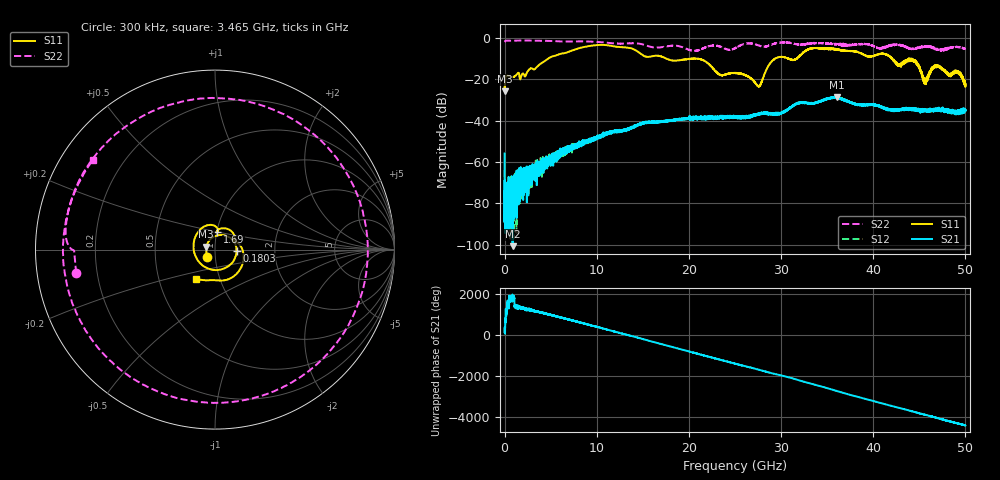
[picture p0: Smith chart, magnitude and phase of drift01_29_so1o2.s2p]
!Created with skrf (http://scikit-rf.org).
# Hz S RI R 50.0
!freq ReS11 ImS11 ReS21 ImS21 ReS12 ImS12 ReS22 ImS22
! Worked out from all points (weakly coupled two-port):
!   10001 points, 300 kHz to 50 GHz, reference 50 ohm
!   highest |S21| = -28.72 dB at 36.06 GHz (marker M1); lowest = -100.6 dB at 870.3 MHz (marker M2)
!   lowest |S11| = -25.8 dB at 5.3 MHz (marker M3), VSWR 1.11, Z = 45.3 + j1.41 ohm
!   |S11| at or under -10 dB: start of sweep to 4.763 GHz; 17.5 GHz to 29.4 GHz (11.91 GHz wide, 50.8 % of centre); 43.86 GHz to end of sweep (the widest 3 of 10)
!   |S22| runs from -6.5 to -1.4 dB; largest |S21 - S12| = 0.0035
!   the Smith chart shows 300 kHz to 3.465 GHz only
!   S11 on the Smith chart (normalised r, x): 300 kHz: 0.91, -0.08; 180.3 MHz: 1.27, -0.01; 1.69 GHz: 1.00, +0.20; 3.465 GHz: 0.77, -0.26
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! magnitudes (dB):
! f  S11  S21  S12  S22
! 300 kHz  -23.9  -55.9  -63.7  -2.1
! 5.3 MHz  -25.8  -89.2  -84.2  -2.1
! 180.3 MHz  -18.4  -78.7  -77.9  -1.4
! 870.3 MHz  -19.0  -100.6  -75.7  -1.5
! 1.69 GHz  -20.2  -69.3  -72.0  -1.4
! 3.465 GHz  -14.3  -64.9  -64.4  -1.5
! 8.335 GHz  -4.8  -50.9  -51.2  -1.8
! 16.67 GHz  -8.7  -40.7  -40.7  -4.8
! 21.17 GHz  -10.3  -39.1  -38.7  -5.9
! 25 GHz  -17.1  -38.4  -38.6  -5.1
! 27.59 GHz  -23.6  -37.1  -37.0  -3.8
! 29.28 GHz  -10.3  -36.8  -37.1  -2.8
! 31.45 GHz  -10.8  -32.4  -32.4  -3.0
! 33.34 GHz  -5.1  -31.6  -31.5  -2.7
! 36.06 GHz  -5.7  -28.7  -29.2  -3.2
! 41.67 GHz  -8.8  -34.8  -34.7  -4.1
! 42.79 GHz  -13.2  -34.8  -34.7  -3.7
! 44.41 GHz  -11.4  -34.6  -34.7  -5.4
! 45.63 GHz  -21.4  -35.3  -35.2  -4.3
! 46.93 GHz  -13.4  -34.6  -34.6  -5.4
! 49.26 GHz  -17.0  -36.2  -35.8  -4.6
! 50 GHz  -22.3  -35.3  -35.1  -5.4
